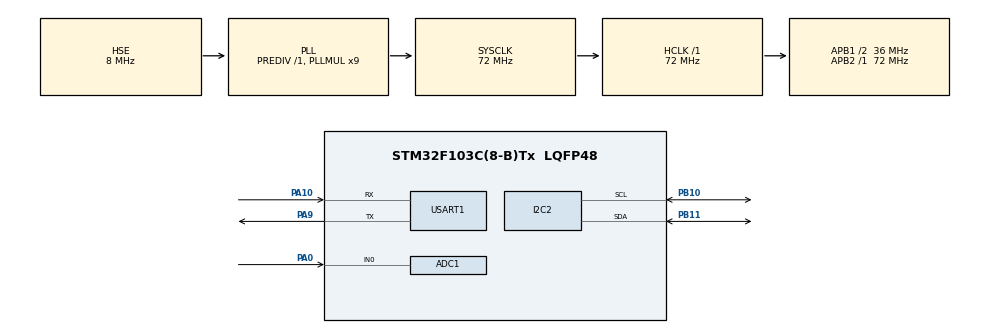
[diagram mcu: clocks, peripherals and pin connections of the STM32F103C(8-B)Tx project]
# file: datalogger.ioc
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ADC1.Channel-0\#ChannelRegularConversion=ADC_CHANNEL_0
ADC1.ContinuousConvMode=DISABLE
ADC1.ExternalTrigConv=ADC_EXTERNALTRIGCONV_T3_TRGO
ADC1.NbrOfConversionFlag=1
ADC1.Rank-0\#ChannelRegularConversion=1
ADC1.SamplingTime-0\#ChannelRegularConversion=ADC_SAMPLETIME_28CYCLES_5
ADC1.master=1
Dma.ADC1.0.Direction=DMA_PERIPH_TO_MEMORY
Dma.ADC1.0.Instance=DMA1_Channel1
Dma.ADC1.0.MemDataAlignment=DMA_MDATAALIGN_HALFWORD
Dma.ADC1.0.MemInc=DMA_MINC_ENABLE
Dma.ADC1.0.Mode=DMA_CIRCULAR
Dma.ADC1.0.PeriphDataAlignment=DMA_PDATAALIGN_HALFWORD
Dma.ADC1.0.PeriphInc=DMA_PINC_DISABLE
Dma.ADC1.0.Priority=DMA_PRIORITY_LOW
Dma.Request0=ADC1
I2C2.I2C_Mode=I2C_Standard
Mcu.Family=STM32F1
Mcu.Name=STM32F103C(8-B)Tx
Mcu.Package=LQFP48
NVIC.DMA1_Channel1_IRQn=true\:0\:0\:false\:false\:true\:false\:true\:true
NVIC.PriorityGroup=NVIC_PRIORITYGROUP_4
PA0-WKUP.Signal=ADCx_IN0
PA10.Mode=Asynchronous
PA10.Signal=USART1_RX
PA13.Mode=Serial_Wire
PA13.Signal=SYS_JTMS-SWDIO
PA14.Mode=Serial_Wire
PA14.Signal=SYS_JTCK-SWCLK
PA9.Mode=Asynchronous
PA9.Signal=USART1_TX
PB10.Mode=I2C
PB10.Signal=I2C2_SCL
PB11.Mode=I2C
PB11.Signal=I2C2_SDA
PD0-OSC_IN.Mode=HSE-External-Oscillator
PD0-OSC_IN.Signal=RCC_OSC_IN
PD1-OSC_OUT.Mode=HSE-External-Oscillator
PD1-OSC_OUT.Signal=RCC_OSC_OUT
ProjectManager.HeapSize=0x200
ProjectManager.StackSize=0x400
ProjectManager.TargetToolchain=MDK-ARM V5.32
RCC.ADCPresc=RCC_ADCPCLK2_DIV6
RCC.AHBFreq_Value=72000000
RCC.APB1CLKDivider=RCC_HCLK_DIV2
RCC.APB1Freq_Value=36000000
RCC.APB1TimFreq_Value=72000000
RCC.APB2Freq_Value=72000000
RCC.APB2TimFreq_Value=72000000
RCC.HCLKFreq_Value=72000000
RCC.PLLMUL=RCC_PLL_MUL9
RCC.PLLSourceVirtual=RCC_PLLSOURCE_HSE
RCC.SYSCLKFreq_VALUE=72000000
RCC.SYSCLKSource=RCC_SYSCLKSOURCE_PLLCLK
RCC.USBFreq_Value=72000000
SH.ADCx_IN0.0=ADC1_IN0,IN0
TIM3.Period=9999
TIM3.Prescaler=71
TIM3.TIM_MasterOutputTrigger=TIM_TRGO_UPDATE
USART1.VirtualMode=VM_ASYNC
VP_TIM3_VS_ClockSourceINT.Mode=Internal
board=custom

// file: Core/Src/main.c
/* USER CODE BEGIN Header */
/**
  ******************************************************************************
  * @file           : main.c
  * @brief          : Main program body
  ******************************************************************************
  * @attention
  *
  * Copyright (c) 2026 STMicroelectronics.
  * All rights reserved.
  *
  * This software is licensed under terms that can be found in the LICENSE file
  * in the root directory of this software component.
  * If no LICENSE file comes with this software, it is provided AS-IS.
  *
  ******************************************************************************
  */
/* USER CODE END Header */
#include "main.h"

/* USER CODE BEGIN Includes */
#include <stdio.h>
#include "mpu6050.h"        /* 通道二：I2C 六轴 */
#include "adc_dma.h"        /* 通道一：ADC + DMA */
#include "protocol.h"       /* 上行帧打包（格式见 docs/protocol.md） */
/* USER CODE END Includes */

ADC_HandleTypeDef hadc1;
DMA_HandleTypeDef hdma_adc1;

I2C_HandleTypeDef hi2c2;

TIM_HandleTypeDef htim3;

UART_HandleTypeDef huart1;

/* USER CODE BEGIN PV */
MPU6050_t   mpu;                            /* 六轴数据，由 ReadAll 更新 */

/* 打包缓冲区，模块级静态；每帧整体重写，不留历史 */
static PROTO_Sample_t s_sample;
static uint8_t        s_frame[PROTO_FRAME_LEN];
/* USER CODE END PV */

void SystemClock_Config(void);
static void MX_GPIO_Init(void);
static void MX_DMA_Init(void);
static void MX_ADC1_Init(void);
static void MX_USART1_UART_Init(void);
static void MX_TIM3_Init(void);
static void MX_I2C2_Init(void);

/* USER CODE BEGIN 0 */

/* printf 重定向到 USART1 (PA9)
 * 注意：Keil 必须勾选 Options -> Target -> Use MicroLIB，
 *       否则标准库走半主机模式，脱离调试器后一调用 printf 即卡死 */
int fputc(int ch, FILE *f)
{
  HAL_UART_Transmit(&huart1, (uint8_t *)&ch, 1, 0xFFFF);
  return ch;
}

/* USER CODE END 0 */

int main(void)
{

  /* MCU Configuration--------------------------------------------------------*/

  /* Reset of all peripherals, Initializes the Flash interface and the Systick. */
  HAL_Init();

  /* Configure the system clock */
  SystemClock_Config();

  /* Initialize all configured peripherals */
  MX_GPIO_Init();
  MX_DMA_Init();
  MX_ADC1_Init();
  MX_USART1_UART_Init();
  MX_TIM3_Init();
  MX_I2C2_Init();
  /* USER CODE BEGIN 2 */
  uint8_t ret;

  printf("datalogger ready\r\n");

  ret = MPU6050_Init();
  if (ret == 0)
  {
    printf("mpu6050 ready, WHO_AM_I = 0x%02X\r\n", MPU6050_GetID());
  }
  else
  {
    /* 传感器异常时不阻塞启动，ADC 通道照常输出，便于区分总线故障与器件故障 */
    printf("mpu6050 init failed, code = %d\r\n", ret);
  }

  /* 通道一：TIM3 每 10ms 触发一次 ADC，攒满 10 个 = 100ms 一帧 */
  ADC_DMA_Start();

  /* 启动横幅保持文本，仅复位后打印一次；主循环起改发二进制帧。
     横幅字节不含 0xAA，上位机按 SOF 同步时不会把它误判成帧头。
     TODO: I2C 错误计数（MPU6050_GetErrCount）尚未进帧 */
  /* USER CODE END 2 */

  /* Infinite loop */
  while (1)
  {

    /* USER CODE BEGIN 3 */
    if (ADC_DMA_IsReady())                  /* 100ms 到，一批样本就绪 */
    {
      uint16_t avg = ADC_DMA_GetAvg();      /* 10 点平均，压制随机噪声 */
      uint16_t len;

      /* 通道二：I2C 读六轴；通信失败由驱动内部计数，主流程不阻塞 */
      if (MPU6050_IsReady())
      {
        MPU6050_ReadAll(&mpu);
      }

      /* SysTick / ADC / I2C 三路合进同一帧，共用同一时间戳 */
      s_sample.tick_ms = HAL_GetTick();
      s_sample.adc_mv  = ADC_ToMillivolt(avg);
      s_sample.accX    = mpu.accX;
      s_sample.accY    = mpu.accY;
      s_sample.accZ    = mpu.accZ;
      s_sample.gyroX   = mpu.gyroX;
      s_sample.gyroY   = mpu.gyroY;
      s_sample.gyroZ   = mpu.gyroZ;

      /* 24 字节 @115200 约 2.1ms，比原先 72 字节文本行（约 6.3ms）省 4ms 以上。
         超时取 100ms 而非 0xFFFF：发送卡死时最多丢一帧，不让主循环长时间阻塞 */
      len = PROTO_PackData(&s_sample, s_frame);
      HAL_UART_Transmit(&huart1, s_frame, len, 100);
    }
  }
  /* USER CODE END 3 */
}

void SystemClock_Config(void)
{
  RCC_OscInitTypeDef RCC_OscInitStruct = {0};
  RCC_ClkInitTypeDef RCC_ClkInitStruct = {0};
  RCC_PeriphCLKInitTypeDef PeriphClkInit = {0};

  /** Initializes the RCC Oscillators according to the specified parameters
  * in the RCC_OscInitTypeDef structure.
  */
  RCC_OscInitStruct.OscillatorType = RCC_OSCILLATORTYPE_HSE;
  RCC_OscInitStruct.HSEState = RCC_HSE_ON;
  RCC_OscInitStruct.HSEPredivValue = RCC_HSE_PREDIV_DIV1;
  RCC_OscInitStruct.HSIState = RCC_HSI_ON;
  RCC_OscInitStruct.PLL.PLLState = RCC_PLL_ON;
  RCC_OscInitStruct.PLL.PLLSource = RCC_PLLSOURCE_HSE;
  RCC_OscInitStruct.PLL.PLLMUL = RCC_PLL_MUL9;
  if (HAL_RCC_OscConfig(&RCC_OscInitStruct) != HAL_OK)
  {
    Error_Handler();
  }

  /** Initializes the CPU, AHB and APB buses clocks
  */
  RCC_ClkInitStruct.ClockType = RCC_CLOCKTYPE_HCLK|RCC_CLOCKTYPE_SYSCLK
                              |RCC_CLOCKTYPE_PCLK1|RCC_CLOCKTYPE_PCLK2;
  RCC_ClkInitStruct.SYSCLKSource = RCC_SYSCLKSOURCE_PLLCLK;
  RCC_ClkInitStruct.AHBCLKDivider = RCC_SYSCLK_DIV1;
  RCC_ClkInitStruct.APB1CLKDivider = RCC_HCLK_DIV2;
  RCC_ClkInitStruct.APB2CLKDivider = RCC_HCLK_DIV1;

  if (HAL_RCC_ClockConfig(&RCC_ClkInitStruct, FLASH_LATENCY_2) != HAL_OK)
  {
    Error_Handler();
  }
  PeriphClkInit.PeriphClockSelection = RCC_PERIPHCLK_ADC;
  PeriphClkInit.AdcClockSelection = RCC_ADCPCLK2_DIV6;
  if (HAL_RCCEx_PeriphCLKConfig(&PeriphClkInit) != HAL_OK)
  {
    Error_Handler();
  }
}

static void MX_ADC1_Init(void)
{

  ADC_ChannelConfTypeDef sConfig = {0};

  /** Common config
  */
  hadc1.Instance = ADC1;
  hadc1.Init.ScanConvMode = ADC_SCAN_DISABLE;
  hadc1.Init.ContinuousConvMode = DISABLE;
  hadc1.Init.DiscontinuousConvMode = DISABLE;
  hadc1.Init.ExternalTrigConv = ADC_EXTERNALTRIGCONV_T3_TRGO;
  hadc1.Init.DataAlign = ADC_DATAALIGN_RIGHT;
  hadc1.Init.NbrOfConversion = 1;
  if (HAL_ADC_Init(&hadc1) != HAL_OK)
  {
    Error_Handler();
  }

  /** Configure Regular Channel
  */
  sConfig.Channel = ADC_CHANNEL_0;
  sConfig.Rank = ADC_REGULAR_RANK_1;
  sConfig.SamplingTime = ADC_SAMPLETIME_28CYCLES_5;
  if (HAL_ADC_ConfigChannel(&hadc1, &sConfig) != HAL_OK)
  {
    Error_Handler();
  }

}

static void MX_I2C2_Init(void)
{

  hi2c2.Instance = I2C2;
  hi2c2.Init.ClockSpeed = 100000;
  hi2c2.Init.DutyCycle = I2C_DUTYCYCLE_2;
  hi2c2.Init.OwnAddress1 = 0;
  hi2c2.Init.AddressingMode = I2C_ADDRESSINGMODE_7BIT;
  hi2c2.Init.DualAddressMode = I2C_DUALADDRESS_DISABLE;
  hi2c2.Init.OwnAddress2 = 0;
  hi2c2.Init.GeneralCallMode = I2C_GENERALCALL_DISABLE;
  hi2c2.Init.NoStretchMode = I2C_NOSTRETCH_DISABLE;
  if (HAL_I2C_Init(&hi2c2) != HAL_OK)
  {
    Error_Handler();
  }

}

static void MX_TIM3_Init(void)
{

  TIM_ClockConfigTypeDef sClockSourceConfig = {0};
  TIM_MasterConfigTypeDef sMasterConfig = {0};

  htim3.Instance = TIM3;
  htim3.Init.Prescaler = 71;
  htim3.Init.CounterMode = TIM_COUNTERMODE_UP;
  htim3.Init.Period = 9999;
  htim3.Init.ClockDivision = TIM_CLOCKDIVISION_DIV1;
  htim3.Init.AutoReloadPreload = TIM_AUTORELOAD_PRELOAD_DISABLE;
  if (HAL_TIM_Base_Init(&htim3) != HAL_OK)
  {
    Error_Handler();
  }
  sClockSourceConfig.ClockSource = TIM_CLOCKSOURCE_INTERNAL;
  if (HAL_TIM_ConfigClockSource(&htim3, &sClockSourceConfig) != HAL_OK)
  {
    Error_Handler();
  }
  sMasterConfig.MasterOutputTrigger = TIM_TRGO_UPDATE;
  sMasterConfig.MasterSlaveMode = TIM_MASTERSLAVEMODE_DISABLE;
  if (HAL_TIMEx_MasterConfigSynchronization(&htim3, &sMasterConfig) != HAL_OK)
  {
    Error_Handler();
  }

}

static void MX_USART1_UART_Init(void)
{

  huart1.Instance = USART1;
  huart1.Init.BaudRate = 115200;
  huart1.Init.WordLength = UART_WORDLENGTH_8B;
  huart1.Init.StopBits = UART_STOPBITS_1;
  huart1.Init.Parity = UART_PARITY_NONE;
  huart1.Init.Mode = UART_MODE_TX_RX;
  huart1.Init.HwFlowCtl = UART_HWCONTROL_NONE;
  huart1.Init.OverSampling = UART_OVERSAMPLING_16;
  if (HAL_UART_Init(&huart1) != HAL_OK)
  {
    Error_Handler();
  }

}

static void MX_DMA_Init(void)
{

  /* DMA controller clock enable */
  __HAL_RCC_DMA1_CLK_ENABLE();

  /* DMA interrupt init */
  /* DMA1_Channel1_IRQn interrupt configuration */
  HAL_NVIC_SetPriority(DMA1_Channel1_IRQn, 0, 0);
  HAL_NVIC_EnableIRQ(DMA1_Channel1_IRQn);

}

static void MX_GPIO_Init(void)
{

  /* GPIO Ports Clock Enable */
  __HAL_RCC_GPIOD_CLK_ENABLE();
  __HAL_RCC_GPIOA_CLK_ENABLE();
  __HAL_RCC_GPIOB_CLK_ENABLE();

}

void Error_Handler(void)
{
  __disable_irq();
  while (1)
  {
  }
}
